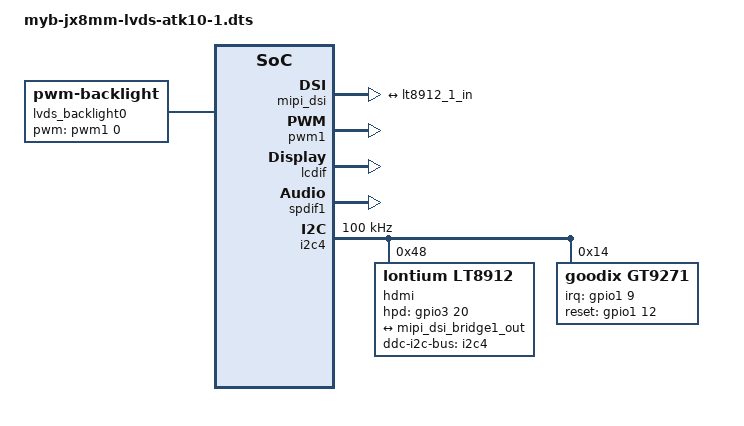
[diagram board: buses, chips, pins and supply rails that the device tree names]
/*
 * Copyright 2022 MYiR Devices
 */
 
#include "myb-jx8mm-base.dts"

/{
    display-subsystem {                                                                                
         status = "okay";
	};

	lvds_backlight0: lvds_backlight@0 {
		compatible = "pwm-backlight";
		pwms = <&pwm1 0 5000000 0>;

		brightness-levels = < 0  1  2  3  4  5  6  7  8  9
				     10 11 12 13 14 15 16 17 18 19
				     20 21 22 23 24 25 26 27 28 29
				     30 31 32 33 34 35 36 37 38 39
				     40 41 42 43 44 45 46 47 48 49
				     50 51 52 53 54 55 56 57 58 59
				     60 61 62 63 64 65 66 67 68 69
				     70 71 72 73 74 75 76 77 78 79
				     80 81 82 83 84 85 86 87 88 89
				     90 91 92 93 94 95 96 97 98 99
				    100>;
		default-brightness-level = <80>;
	};

};

&mipi_dsi {
	status = "okay";

	port@1 {
		compatible = "lontium,lt8912";
		mipi_dsi_bridge1_out: endpoint {
			remote-endpoint = <&lt8912_1_in>;
			attach-bridge;
		};
	};
};

&pwm1 {
	pinctrl-names = "default";
	pinctrl-0 = <&pinctrl_pwm1>;
	status = "okay";
};

&lcdif{
	max-res = <1280>, <800>;
	status = "okay";
};

&iomuxc {
	imx8mm-evk {
		
		pinctrl_dsi_pd: dsi_gpio {
			fsl,pins = <
				MX8MM_IOMUXC_SAI5_RXC_GPIO3_IO20           0x00000116
			>;
        };

		pinctrl_pwm1: lvds0pwm1grp {
			fsl,pins = <
				MX8MM_IOMUXC_SPDIF_EXT_CLK_PWM1_OUT				0x19
			>;
		};

		pinctrl_tp_pd: tp_grp {
			fsl,pins = <
				MX8MM_IOMUXC_GPIO1_IO09_GPIO1_IO9 			   0x19
				MX8MM_IOMUXC_GPIO1_IO12_GPIO1_IO12 			   0x19
			>;
		};

	};
};

&spdif1 {
	pinctrl-names = "default";
	status = "okay";
};

&i2c4 {
    clock-frequency = <100000>;
    pinctrl-names = "default";
    status = "okay";

	/* MIPI-DSI to HDMI and LVDS adapter */
	hdmi@48 {
		compatible = "lontium,lt8912";
		pinctrl-names = "default";
		pinctrl-0 = <&pinctrl_dsi_pd>;
		reg = <0x48>;
		ddc-i2c-bus = <&i2c4>;
		hpd-gpios = <&gpio3 20 GPIO_ACTIVE_HIGH>;
		// reset-gpios = <&gpio1 13 GPIO_ACTIVE_LOW>;
		status = "okay";

		dsi-lanes = <4>;
		hdmi_mode = <1>;
		lvds-enabled = <1>;
		debug =<1>;
		bypass=<0>;

	    display-timings {
			native-mode = <&timing0>;
			/* LVDS atk 10.1*/
			timing0:timing0{
				clock-frequency = <71000000>;
				hactive = <1280>;
				hsync-len = <32>;
				hback-porch = <80>;
				hfront-porch = <48>;
				vactive = <800>;
				vsync-len = <6>;
				vback-porch = <14>;
				vfront-porch = <3>;
				vsync-active = <0>;
				hsync-active =<0>;
				de-active =<0>;
				pixelclk-active =<0>;
			};

	 	};

		port {
			lt8912_1_in: endpoint {
				remote-endpoint = <&mipi_dsi_bridge1_out>;
			};
		};
	};

	/* 10.1-inch,touch */ 
	gt9271@14 {
		compatible = "goodix,gt9271";
		reg = <0x14>;
		pinctrl-names = "default";
		pinctrl-0 = <&pinctrl_tp_pd>;
		
		interrupt-parent = <&gpio1>;
		interrupts = <9 IRQ_TYPE_EDGE_FALLING>;
		
		esd-recovery-timeout-ms = <2000>;
		irq-gpios = <&gpio1 9 GPIO_ACTIVE_HIGH>;
		reset-gpios = <&gpio1 12 GPIO_ACTIVE_HIGH>;
		status = "okay";
	};

};
